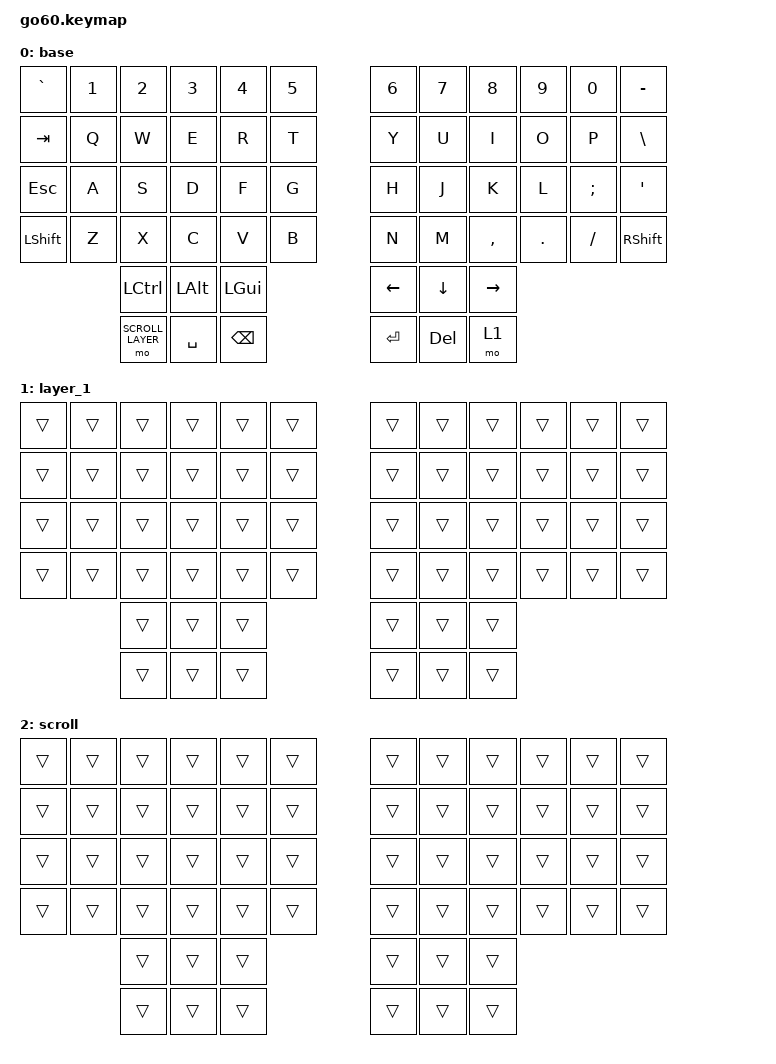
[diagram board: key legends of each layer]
/*
 * Copyright (c) 2026 Mrinal Kalakrishnan
 *
 * SPDX-License-Identifier: MIT
 *
 * The smallest keymap that lets the README's examples compile on a Go60:
 * three layers, so that SCROLL_LAYER (2, as in the README) exists, and a
 * key that activates it. Included by go60_lh.keymap and go60_rh.keymap,
 * which add the trackpad configuration for their half.
 */

#include <behaviors.dtsi>
#include <dt-bindings/zmk/keys.h>

#define SCROLL_LAYER 2

/ {
    keymap {
        compatible = "zmk,keymap";

        base {
            bindings = <
&kp GRAVE &kp N1 &kp N2 &kp N3 &kp N4 &kp N5              &kp N6 &kp N7 &kp N8    &kp N9  &kp N0   &kp MINUS
&kp TAB   &kp Q  &kp W  &kp E  &kp R  &kp T               &kp Y  &kp U  &kp I     &kp O   &kp P    &kp BSLH
&kp ESC   &kp A  &kp S  &kp D  &kp F  &kp G               &kp H  &kp J  &kp K     &kp L   &kp SEMI &kp SQT
&kp LSHFT &kp Z  &kp X  &kp C  &kp V  &kp B               &kp N  &kp M  &kp COMMA &kp DOT &kp FSLH &kp RSHFT
                 &kp LCTRL &kp LALT &kp LGUI              &kp LEFT &kp DOWN &kp RIGHT
                 &mo SCROLL_LAYER &kp SPACE &kp BSPC      &kp RET &kp DEL &mo 1
            >;
        };

        layer_1 {
            bindings = <
&trans &trans &trans &trans &trans &trans              &trans &trans &trans &trans &trans &trans
&trans &trans &trans &trans &trans &trans              &trans &trans &trans &trans &trans &trans
&trans &trans &trans &trans &trans &trans              &trans &trans &trans &trans &trans &trans
&trans &trans &trans &trans &trans &trans              &trans &trans &trans &trans &trans &trans
              &trans &trans &trans                     &trans &trans &trans
              &trans &trans &trans                     &trans &trans &trans
            >;
        };

        scroll {
            bindings = <
&trans &trans &trans &trans &trans &trans              &trans &trans &trans &trans &trans &trans
&trans &trans &trans &trans &trans &trans              &trans &trans &trans &trans &trans &trans
&trans &trans &trans &trans &trans &trans              &trans &trans &trans &trans &trans &trans
&trans &trans &trans &trans &trans &trans              &trans &trans &trans &trans &trans &trans
              &trans &trans &trans                     &trans &trans &trans
              &trans &trans &trans                     &trans &trans &trans
            >;
        };
    };
};
